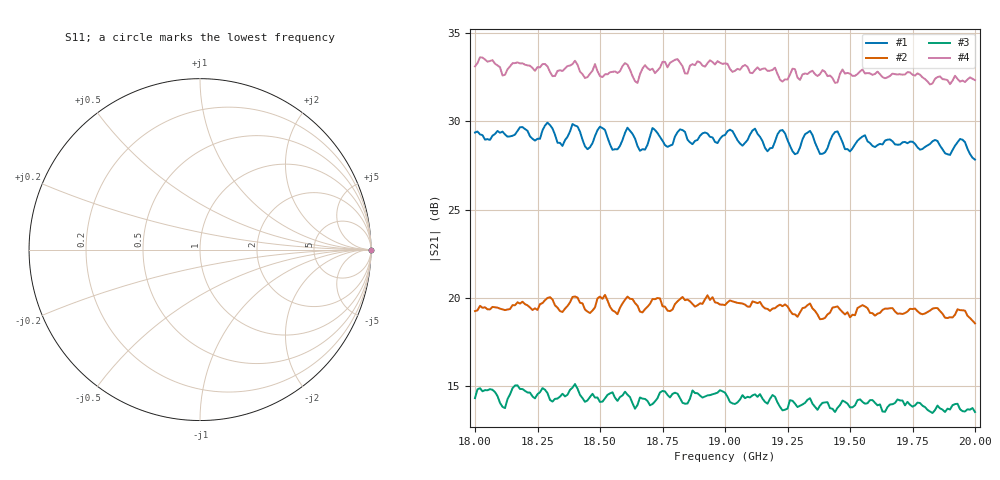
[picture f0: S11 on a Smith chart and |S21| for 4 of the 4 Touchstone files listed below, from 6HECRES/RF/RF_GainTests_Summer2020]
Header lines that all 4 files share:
!Agilent N9918A: A.07.57
!Timezone: (GMT-08:00) Pacific Time (US & Canada)
!Model: N9918A
!Serial: MY53103598
!GPS Latitude:
!GPS Longitude:
!GPS TimeStamp: 0001-01-01 00:00:00Z
!GPS Seconds Since Last Read: 0
!Correction: S11()S21(Rdy)S12()S22()
!S2P File: Measurements:S11,S21,S12,S22:
# Hz S DB R 50
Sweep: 18 GHz to 20 GHz
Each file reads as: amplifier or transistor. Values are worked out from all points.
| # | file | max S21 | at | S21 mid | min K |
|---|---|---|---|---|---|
| 1 | B.s2p | 29.9 dB | 18.29 GHz | 29.2 dB at 19 GHz | 11.85 |
| 2 | LAN1.s2p | 20.2 dB | 18.52 GHz | 19.6 dB at 19 GHz | 3.46 |
| 3 | LAN2.s2p | 15.1 dB | 18.4 GHz | 14.6 dB at 19 GHz | 1.42 |
| 4 | LNAsInSeries.s2p | 33.6 dB | 18.02 GHz | 33.3 dB at 19 GHz | 19.13 |
